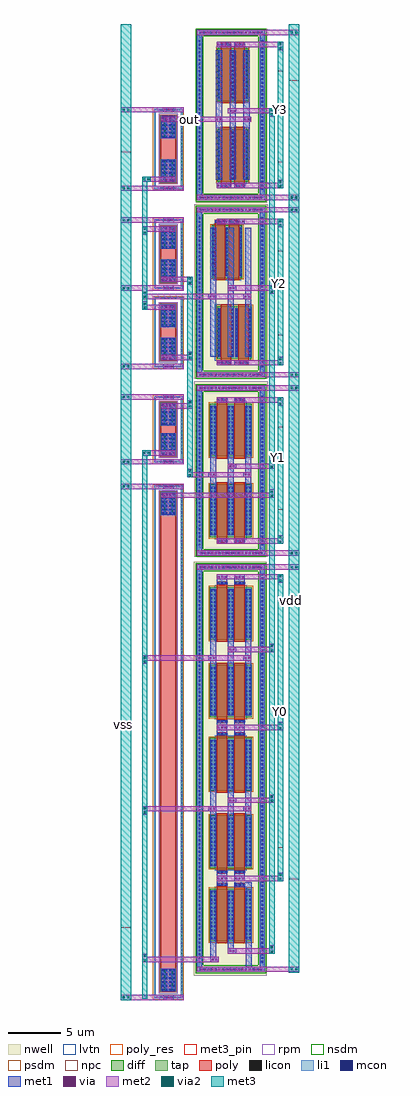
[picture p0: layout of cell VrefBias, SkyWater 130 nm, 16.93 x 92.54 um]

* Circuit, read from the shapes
.subckt VrefBias Y0 Y1 Y2 Y3 out vdd vss
XM1 n1 Y2 vss vdd sky130_fd_pr__pfet_01v8_lvt w=5 l=1
XM2 n1 Y0 n2 vdd sky130_fd_pr__pfet_01v8_lvt w=5 l=1 m=9
XM3 n1 Y1 n3 vdd sky130_fd_pr__pfet_01v8_lvt w=5 l=1 m=4
XM4 n1 Y2 n4 vdd sky130_fd_pr__pfet_01v8_lvt w=5 l=1
XM5 n1 Y3 out vdd sky130_fd_pr__pfet_01v8_lvt w=5 l=1 m=4
XM6 n5 Y2 n1 vdd sky130_fd_pr__pfet_01v8_lvt w=5 l=1
XM7 vdd vdd n1 vdd sky130_fd_pr__pfet_01v8_lvt w=5 l=1
XM8 vss Y2 n6 vdd sky130_fd_pr__pfet_01v8_lvt w=5 l=1
XR9 n1 n7 vss sky130_fd_pr__res_high_po w=1.41 l=43
XR10 n3 n2 vss sky130_fd_pr__res_high_po w=1.41 l=0.7
XR11 vss n3 vss sky130_fd_pr__res_high_po w=1.41 l=1 m=2
XR12 out vss vss sky130_fd_pr__res_high_po w=1.41 l=2
.ends

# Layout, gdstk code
from math import pi, radians
import gdstk
lib = gdstk.Library(unit=1e-6, precision=5e-09)
def R(c, l, rs):  # rectangles x0, y0, x1, y1
    for r in rs: c.add(gdstk.rectangle(r[:2], r[2:], *l))
def A(c, l, x, y, w, h, nx, ny, dx, dy):  # array of equal rectangles
    R(c, l, [(x+i*dx, y+j*dy, x+i*dx+w, y+j*dy+h) for i in range(nx) for j in range(ny)])
def P(c, l, *ps):  # polygons
    for p in ps: c.add(gdstk.Polygon(p, *l))
nwell = (64, 20)
diff = (65, 20)
tap = (65, 44)
poly_res = (66, 13)
poly = (66, 20)
licon = (66, 44)
li1 = (67, 20)
mcon = (67, 44)
met1 = (68, 20)
via = (68, 44)
met2 = (69, 20)
via2 = (69, 44)
met3_pin = (70, 16)
met3 = (70, 20)
rpm = (86, 20)
nsdm = (93, 44)
psdm = (94, 20)
npc = (95, 20)
lvtn = (125, 44)

res_poly_5 = lib.new_cell('res_poly$5')
R(res_poly_5, tap, [(-1.355,-24.31,1.355,-24.14), (-1.355,-24.14,-1.185,24.14), (1.185,-24.14,1.355,24.14), (-1.355,24.14,1.355,24.31)])
R(res_poly_5, poly_res, [(-0.705,-21.56,0.705,21.56)])
R(res_poly_5, poly, [(-0.705,-23.66,0.705,23.66)])
A(res_poly_5, licon, -0.765, -24.31, 0.17, 0.17, 5, 2, 0.34, 48.45)
A(res_poly_5, licon, -1.355, -23.545, 0.17, 0.17, 1, 139, 0, 0.34)
A(res_poly_5, licon, 1.185, -23.545, 0.17, 0.17, 1, 139, 0, 0.34)
R(res_poly_5, licon, [(-0.45,-23.58,-0.26,-21.58), (0.26,-23.58,0.45,-21.58), (-0.45,21.58,-0.26,23.58), (0.26,21.58,0.45,23.58)])
R(res_poly_5, li1, [(-1.355,-24.31,1.355,-24.14), (-1.355,-24.14,-1.185,24.14), (1.185,-24.14,1.355,24.14), (-0.705,-23.66,0.705,-21.5), (-0.705,21.5,0.705,23.66), (-1.355,24.14,1.355,24.31)])
A(res_poly_5, mcon, -0.625, -23.56, 0.17, 0.17, 4, 6, 0.36, 0.36)
A(res_poly_5, mcon, -0.625, 21.595, 0.17, 0.17, 4, 6, 0.36, 0.36)
R(res_poly_5, met1, [(-0.655,-23.63,0.655,-21.525), (-0.655,21.525,0.655,23.63)])
R(res_poly_5, rpm, [(-0.905,-23.86,0.905,23.86)])
R(res_poly_5, psdm, [(-1.48,-24.435,1.48,24.435)])
R(res_poly_5, npc, [(-0.8,-23.755,0.8,23.755)])

guard_ring_gen = lib.new_cell('guard_ring_gen')
P(guard_ring_gen, tap, [(-0.5,-0.5),(-0.5,15.145),(0,15.145),(0,0),(5.44,0),(5.44,15.145),(-0.5,15.145),(-0.5,15.645),(5.94,15.645),(5.94,-0.5)])
A(guard_ring_gen, licon, -0.245, -0.335, 0.17, 0.17, 17, 2, 0.36, 15.645)
A(guard_ring_gen, licon, -0.335, 0.47, 0.17, 0.17, 1, 40, 0, 0.36)
A(guard_ring_gen, licon, 5.605, 0.47, 0.17, 0.17, 1, 40, 0, 0.36)
P(guard_ring_gen, li1, [(-0.5,-0.5),(-0.5,15.145),(0,15.145),(0,0),(5.44,0),(5.44,15.145),(-0.5,15.145),(-0.5,15.645),(5.94,15.645),(5.94,-0.5)])
A(guard_ring_gen, mcon, -0.245, -0.335, 0.17, 0.17, 17, 2, 0.36, 15.645)
A(guard_ring_gen, mcon, -0.335, 0.47, 0.17, 0.17, 1, 40, 0, 0.36)
A(guard_ring_gen, mcon, 5.605, 0.47, 0.17, 0.17, 1, 40, 0, 0.36)
P(guard_ring_gen, met1, [(-0.5,-0.5),(-0.5,15.145),(0,15.145),(0,0),(5.44,0),(5.44,15.145),(-0.5,15.145),(-0.5,15.645),(5.94,15.645),(5.94,-0.5)])
P(guard_ring_gen, nsdm, [(-0.625,-0.625),(-0.625,15.02),(0.125,15.02),(0.125,0.125),(5.315,0.125),(5.315,15.02),(-0.625,15.02),(-0.625,15.77),(6.065,15.77),(6.065,-0.625)])

pfet = lib.new_cell('pfet')
R(pfet, nwell, [(-0.305,-0.38,2.625,5.72)])
R(pfet, diff, [(0,0,2.32,5)])
R(pfet, poly, [(0.66,-0.2,1.66,5.2), (0.66,5.2,1.66,5.53)])
A(pfet, licon, 0.065, 0.255, 0.17, 0.17, 1, 13, 0, 0.36)
A(pfet, licon, 0.425, 0.255, 0.17, 0.17, 1, 13, 0, 0.36)
A(pfet, licon, 1.725, 0.255, 0.17, 0.17, 1, 13, 0, 0.36)
A(pfet, licon, 2.085, 0.255, 0.17, 0.17, 1, 13, 0, 0.36)
A(pfet, licon, 0.715, 5.28, 0.17, 0.17, 3, 1, 0.36, 0)
R(pfet, li1, [(0.065,0.175,0.595,4.825), (1.725,0.175,2.255,4.825), (0.635,5.28,1.685,5.45)])
A(pfet, mcon, 0.065, 0.255, 0.17, 0.17, 1, 13, 0, 0.36)
A(pfet, mcon, 0.425, 0.255, 0.17, 0.17, 1, 13, 0, 0.36)
A(pfet, mcon, 1.725, 0.255, 0.17, 0.17, 1, 13, 0, 0.36)
A(pfet, mcon, 2.085, 0.255, 0.17, 0.17, 1, 13, 0, 0.36)
A(pfet, mcon, 0.715, 5.28, 0.17, 0.17, 3, 1, 0.36, 0)
R(pfet, met1, [(0.035,0.195,0.625,4.805), (1.695,0.195,2.285,4.805), (0.655,5.25,1.665,5.48)])
R(pfet, psdm, [(-0.125,-0.125,2.445,5.125)])
R(pfet, npc, [(0.65,5.19,1.67,5.54)])
R(pfet, lvtn, [(0.48,-0.18,1.84,5.18)])

vias_gen_3 = lib.new_cell('vias_gen$3')
R(vias_gen_3, met2, [(0,0,1,0.5)])
R(vias_gen_3, via2, [(0.2,0.15,0.4,0.35), (0.6,0.15,0.8,0.35)])
R(vias_gen_3, met3, [(0,0,1,0.5)])

vias_gen_2 = lib.new_cell('vias_gen$2')
R(vias_gen_2, met1, [(0,0,6,0.5)])
A(vias_gen_2, via, 0.205, 0.175, 0.15, 0.15, 18, 1, 0.32, 0)
R(vias_gen_2, met2, [(0,0,6,0.5)])

pfet_1 = lib.new_cell('pfet$1')
R(pfet_1, nwell, [(-0.305,-0.38,1.905,5.72)])
R(pfet_1, diff, [(0,0,1.6,5)])
R(pfet_1, poly, [(0.3,-0.2,1.3,5.2), (0.3,5.2,1.3,5.53)])
A(pfet_1, licon, 0.065, 0.255, 0.17, 0.17, 1, 13, 0, 0.36)
A(pfet_1, licon, 1.365, 0.255, 0.17, 0.17, 1, 13, 0, 0.36)
A(pfet_1, licon, 0.355, 5.28, 0.17, 0.17, 3, 1, 0.36, 0)
R(pfet_1, li1, [(0.065,0.175,0.235,4.825), (1.365,0.175,1.535,4.825), (0.275,5.28,1.325,5.45)])
A(pfet_1, mcon, 0.065, 0.255, 0.17, 0.17, 1, 13, 0, 0.36)
A(pfet_1, mcon, 1.365, 0.255, 0.17, 0.17, 1, 13, 0, 0.36)
A(pfet_1, mcon, 0.355, 5.28, 0.17, 0.17, 3, 1, 0.36, 0)
R(pfet_1, met1, [(0.035,0.195,0.265,4.805), (1.335,0.195,1.565,4.805), (0.295,5.25,1.305,5.48)])
R(pfet_1, psdm, [(-0.125,-0.125,1.725,5.125)])
R(pfet_1, npc, [(0.29,5.19,1.31,5.54)])
R(pfet_1, lvtn, [(0.12,-0.18,1.48,5.18)])

vias_gen_9 = lib.new_cell('vias_gen$9')
R(vias_gen_9, li1, [(0,0,1,0.5)])
R(vias_gen_9, mcon, [(0.235,0.165,0.405,0.335), (0.595,0.165,0.765,0.335)])
R(vias_gen_9, met1, [(0,0,1,0.5)])
A(vias_gen_9, via, 0.105, 0.175, 0.15, 0.15, 3, 1, 0.32, 0)
R(vias_gen_9, met2, [(0,0,1,0.5)])

res_poly_4 = lib.new_cell('res_poly$4')
R(res_poly_4, tap, [(-1.355,-3.16,1.355,-2.99), (-1.355,-2.99,-1.185,2.99), (1.185,-2.99,1.355,2.99), (-1.355,2.99,1.355,3.16)])
R(res_poly_4, poly_res, [(-0.705,-0.41,0.705,0.41)])
R(res_poly_4, poly, [(-0.705,-2.51,0.705,2.51)])
A(res_poly_4, licon, -0.765, -3.16, 0.17, 0.17, 5, 2, 0.34, 6.15)
A(res_poly_4, licon, -1.355, -2.295, 0.17, 0.17, 1, 14, 0, 0.34)
A(res_poly_4, licon, 1.185, -2.295, 0.17, 0.17, 1, 14, 0, 0.34)
R(res_poly_4, licon, [(-0.45,-2.43,-0.26,-0.43), (0.26,-2.43,0.45,-0.43), (-0.45,0.43,-0.26,2.43), (0.26,0.43,0.45,2.43)])
R(res_poly_4, li1, [(-1.355,-3.16,1.355,-2.99), (-1.355,-2.99,-1.185,2.99), (1.185,-2.99,1.355,2.99), (-0.705,-2.51,0.705,-0.35), (-0.705,0.35,0.705,2.51), (-1.355,2.99,1.355,3.16)])
A(res_poly_4, mcon, -0.625, -2.41, 0.17, 0.17, 4, 6, 0.36, 0.36)
A(res_poly_4, mcon, -0.625, 0.445, 0.17, 0.17, 4, 6, 0.36, 0.36)
R(res_poly_4, met1, [(-0.655,-2.48,0.655,-0.375), (-0.655,0.375,0.655,2.48)])
R(res_poly_4, rpm, [(-0.905,-2.71,0.905,2.71)])
R(res_poly_4, psdm, [(-1.48,-3.285,1.48,3.285)])
R(res_poly_4, npc, [(-0.8,-2.605,0.8,2.605)])

res_poly_3 = lib.new_cell('res_poly$3')
R(res_poly_3, tap, [(-1.355,-3.81,1.355,-3.64), (-1.355,-3.64,-1.185,3.64), (1.185,-3.64,1.355,3.64), (-1.355,3.64,1.355,3.81)])
R(res_poly_3, poly_res, [(-0.705,-1.06,0.705,1.06)])
R(res_poly_3, poly, [(-0.705,-3.16,0.705,3.16)])
A(res_poly_3, licon, -0.765, -3.81, 0.17, 0.17, 5, 2, 0.34, 7.45)
A(res_poly_3, licon, -1.355, -2.975, 0.17, 0.17, 1, 18, 0, 0.34)
A(res_poly_3, licon, 1.185, -2.975, 0.17, 0.17, 1, 18, 0, 0.34)
R(res_poly_3, licon, [(-0.45,-3.08,-0.26,-1.08), (0.26,-3.08,0.45,-1.08), (-0.45,1.08,-0.26,3.08), (0.26,1.08,0.45,3.08)])
R(res_poly_3, li1, [(-1.355,-3.81,1.355,-3.64), (-1.355,-3.64,-1.185,3.64), (1.185,-3.64,1.355,3.64), (-0.705,-3.16,0.705,-1), (-0.705,1,0.705,3.16), (-1.355,3.64,1.355,3.81)])
A(res_poly_3, mcon, -0.625, -3.06, 0.17, 0.17, 4, 6, 0.36, 0.36)
A(res_poly_3, mcon, -0.625, 1.095, 0.17, 0.17, 4, 6, 0.36, 0.36)
R(res_poly_3, met1, [(-0.655,-3.13,0.655,-1.025), (-0.655,1.025,0.655,3.13)])
R(res_poly_3, rpm, [(-0.905,-3.36,0.905,3.36)])
R(res_poly_3, psdm, [(-1.48,-3.935,1.48,3.935)])
R(res_poly_3, npc, [(-0.8,-3.255,0.8,3.255)])

res_poly = lib.new_cell('res_poly')
R(res_poly, tap, [(-1.355,-3.31,1.355,-3.14), (-1.355,-3.14,-1.185,3.14), (1.185,-3.14,1.355,3.14), (-1.355,3.14,1.355,3.31)])
R(res_poly, poly_res, [(-0.705,-0.56,0.705,0.56)])
R(res_poly, poly, [(-0.705,-2.66,0.705,2.66)])
A(res_poly, licon, -0.765, -3.31, 0.17, 0.17, 5, 2, 0.34, 6.45)
A(res_poly, licon, -1.355, -2.465, 0.17, 0.17, 1, 15, 0, 0.34)
A(res_poly, licon, 1.185, -2.465, 0.17, 0.17, 1, 15, 0, 0.34)
R(res_poly, licon, [(-0.45,-2.58,-0.26,-0.58), (0.26,-2.58,0.45,-0.58), (-0.45,0.58,-0.26,2.58), (0.26,0.58,0.45,2.58)])
R(res_poly, li1, [(-1.355,-3.31,1.355,-3.14), (-1.355,-3.14,-1.185,3.14), (1.185,-3.14,1.355,3.14), (-0.705,-2.66,0.705,-0.5), (-0.705,0.5,0.705,2.66), (-1.355,3.14,1.355,3.31)])
A(res_poly, mcon, -0.625, -2.56, 0.17, 0.17, 4, 6, 0.36, 0.36)
A(res_poly, mcon, -0.625, 0.595, 0.17, 0.17, 4, 6, 0.36, 0.36)
R(res_poly, met1, [(-0.655,-2.63,0.655,-0.525), (-0.655,0.525,0.655,2.63)])
R(res_poly, rpm, [(-0.905,-2.86,0.905,2.86)])
R(res_poly, psdm, [(-1.48,-3.435,1.48,3.435)])
R(res_poly, npc, [(-0.8,-2.755,0.8,2.755)])

vias_gen = lib.new_cell('vias_gen')
R(vias_gen, met1, [(0,0,0.64,0.5)])
R(vias_gen, via, [(0.085,0.175,0.235,0.325), (0.405,0.175,0.555,0.325)])
R(vias_gen, met2, [(0,0,0.64,0.5)])

vias_gen_1 = lib.new_cell('vias_gen$1')
R(vias_gen_1, met1, [(0,0,1,0.5)])
A(vias_gen_1, via, 0.105, 0.175, 0.15, 0.15, 3, 1, 0.32, 0)
R(vias_gen_1, met2, [(0,0,1,0.5)])

vias_gen_6 = lib.new_cell('vias_gen$6')
R(vias_gen_6, met2, [(0,0,0.8,0.5)])
R(vias_gen_6, via2, [(0.1,0.15,0.3,0.35), (0.5,0.15,0.7,0.35)])
R(vias_gen_6, met3, [(0,0,0.8,0.5)])

vias_gen_7 = lib.new_cell('vias_gen$7')
R(vias_gen_7, met1, [(0,0,0.8,0.5)])
R(vias_gen_7, via, [(0.165,0.175,0.315,0.325), (0.485,0.175,0.635,0.325)])
R(vias_gen_7, met2, [(0,0,0.8,0.5)])

guard_ring_gen_5 = lib.new_cell('guard_ring_gen$5')
P(guard_ring_gen_5, tap, [(-0.5,-0.5),(-0.5,37.635),(0,37.635),(0,0),(5.44,0),(5.44,37.635),(-0.5,37.635),(-0.5,38.135),(5.94,38.135),(5.94,-0.5)])
A(guard_ring_gen_5, licon, -0.245, -0.335, 0.17, 0.17, 17, 2, 0.36, 38.135)
A(guard_ring_gen_5, licon, -0.335, 0.375, 0.17, 0.17, 1, 103, 0, 0.36)
A(guard_ring_gen_5, licon, 5.605, 0.375, 0.17, 0.17, 1, 103, 0, 0.36)
P(guard_ring_gen_5, li1, [(-0.5,-0.5),(-0.5,37.635),(0,37.635),(0,0),(5.44,0),(5.44,37.635),(-0.5,37.635),(-0.5,38.135),(5.94,38.135),(5.94,-0.5)])
A(guard_ring_gen_5, mcon, -0.245, -0.335, 0.17, 0.17, 17, 2, 0.36, 38.135)
A(guard_ring_gen_5, mcon, -0.335, 0.375, 0.17, 0.17, 1, 103, 0, 0.36)
A(guard_ring_gen_5, mcon, 5.605, 0.375, 0.17, 0.17, 1, 103, 0, 0.36)
P(guard_ring_gen_5, met1, [(-0.5,-0.5),(-0.5,37.635),(0,37.635),(0,0),(5.44,0),(5.44,37.635),(-0.5,37.635),(-0.5,38.135),(5.94,38.135),(5.94,-0.5)])
P(guard_ring_gen_5, nsdm, [(-0.625,-0.625),(-0.625,37.51),(0.125,37.51),(0.125,0.125),(5.315,0.125),(5.315,37.51),(-0.625,37.51),(-0.625,38.26),(6.065,38.26),(6.065,-0.625)])

vrefbias = lib.new_cell('VrefBias')
R(vrefbias, nwell, [(182.41,119.55,189.325,158.795), (183.615,128.515,188.205,129.015), (183.615,142.81,188.205,143.31), (182.455,159.245,189.405,175.925), (182.435,176.12,189.41,192.685), (182.565,192.85,189.37,209.34)])
R(vrefbias, met3_pin, [(175.47,124.105,176.47,197.67), (191.395,128.7,192.395,204.43), (190.355,131.66,190.855,155.2), (190.355,163.735,190.855,171.59), (190.355,180.245,190.855,188.28), (190.355,196.645,190.855,205.365)])
R(vrefbias, lvtn, [(184.4,122.615,187.42,127.975), (184.4,129.555,187.42,134.915), (184.4,136.91,187.42,142.27), (184.4,143.85,187.42,149.21), (184.4,151.205,187.42,156.565), (184.4,160.935,187.42,166.295), (184.4,168.59,187.42,173.95), (184.4,177.84,187.42,183.2)])
vrefbias.add(gdstk.FlexPath([(186.235,128.17),(187.51,128.17),(187.9,128.17)], 0.5, ends="flush", simple_path=True, layer=68, datatype=20))  # met1
vrefbias.add(gdstk.FlexPath([(187.605,119.895),(187.605,128.27)], 0.59, ends="flush", simple_path=True, layer=68, datatype=20))  # met1
vrefbias.add(gdstk.FlexPath([(184.79,207.275),(184.79,195.01)], 0.59, ends="flush", simple_path=True, layer=68, datatype=20))  # met1
vrefbias.add(gdstk.FlexPath([(186.09,207.275),(186.09,195.01)], 0.59, ends="flush", simple_path=True, layer=68, datatype=20))  # met1
vrefbias.add(gdstk.FlexPath([(187.39,207.275),(187.39,195.01)], 0.59, ends="flush", simple_path=True, layer=68, datatype=20))  # met1
vrefbias.add(gdstk.FlexPath([(184.25,173.575),(184.25,161.31)], 0.59, ends="flush", simple_path=True, layer=68, datatype=20))  # met1
vrefbias.add(gdstk.FlexPath([(185.91,173.575),(185.91,161.31)], 0.59, ends="flush", simple_path=True, layer=68, datatype=20))  # met1
vrefbias.add(gdstk.FlexPath([(187.57,173.575),(187.57,161.31)], 0.59, ends="flush", simple_path=True, layer=68, datatype=20))  # met1
vrefbias.add(gdstk.FlexPath([(185.91,190.48),(185.91,178.215)], 0.59, ends="flush", simple_path=True, layer=68, datatype=20))  # met1
vrefbias.add(gdstk.FlexPath([(187.57,190.48),(187.57,178.215)], 0.59, ends="flush", simple_path=True, layer=68, datatype=20))  # met1
vrefbias.add(gdstk.FlexPath([(184.25,190.48),(184.25,178.215)], 0.59, ends="flush", simple_path=True, layer=68, datatype=20))  # met1
vrefbias.add(gdstk.FlexPath([(185.085,156.635),(185.085,157.605)], 1, ends="flush", simple_path=True, layer=68, datatype=20))  # met1
vrefbias.add(gdstk.FlexPath([(186.745,156.635),(186.745,157.605)], 1, ends="flush", simple_path=True, layer=68, datatype=20))  # met1
vrefbias.add(gdstk.FlexPath([(185.075,143.78),(185.075,142.34)], 1, ends="flush", simple_path=True, layer=68, datatype=20))  # met1
vrefbias.add(gdstk.FlexPath([(186.735,143.78),(186.735,142.34)], 1, ends="flush", simple_path=True, layer=68, datatype=20))  # met1
vrefbias.add(gdstk.FlexPath([(184.25,156.19),(184.25,144.225)], 0.59, ends="flush", simple_path=True, layer=68, datatype=20))  # met1
vrefbias.add(gdstk.FlexPath([(185.91,156.19),(185.91,144.225)], 0.59, ends="flush", simple_path=True, layer=68, datatype=20))  # met1
vrefbias.add(gdstk.FlexPath([(187.57,156.19),(187.57,144.225)], 0.59, ends="flush", simple_path=True, layer=68, datatype=20))  # met1
vrefbias.add(gdstk.FlexPath([(184.25,141.895),(184.25,129.93)], 0.59, ends="flush", simple_path=True, layer=68, datatype=20))  # met1
vrefbias.add(gdstk.FlexPath([(185.91,141.895),(185.91,129.93)], 0.59, ends="flush", simple_path=True, layer=68, datatype=20))  # met1
vrefbias.add(gdstk.FlexPath([(187.57,141.895),(187.57,129.93)], 0.59, ends="flush", simple_path=True, layer=68, datatype=20))  # met1
vrefbias.add(gdstk.FlexPath([(184.25,127.6),(184.25,120.82)], 0.59, ends="flush", simple_path=True, layer=68, datatype=20))  # met1
vrefbias.add(gdstk.FlexPath([(185.91,127.6),(185.91,121.62)], 0.59, ends="flush", simple_path=True, layer=68, datatype=20))  # met1
vrefbias.add(gdstk.FlexPath([(185.075,129.485),(185.075,128.045)], 1, ends="flush", simple_path=True, layer=68, datatype=20))  # met1
vrefbias.add(gdstk.FlexPath([(186.735,129.485),(186.735,128.515)], 1, ends="flush", simple_path=True, layer=68, datatype=20))  # met1
vrefbias.add(gdstk.FlexPath([(182.69,208.965),(192.395,208.965)], 0.5, ends="flush", simple_path=True, layer=69, datatype=20))  # met2
vrefbias.add(gdstk.FlexPath([(182.69,193.32),(192.395,193.32)], 0.5, ends="flush", simple_path=True, layer=69, datatype=20))  # met2
vrefbias.add(gdstk.FlexPath([(182.69,192.17),(192.395,192.17)], 0.5, ends="flush", simple_path=True, layer=69, datatype=20))  # met2
vrefbias.add(gdstk.FlexPath([(182.69,176.525),(192.395,176.525)], 0.5, ends="flush", simple_path=True, layer=69, datatype=20))  # met2
vrefbias.add(gdstk.FlexPath([(182.69,175.265),(192.395,175.265)], 0.5, ends="flush", simple_path=True, layer=69, datatype=20))  # met2
vrefbias.add(gdstk.FlexPath([(182.69,159.62),(192.395,159.62)], 0.5, ends="flush", simple_path=True, layer=69, datatype=20))  # met2
vrefbias.add(gdstk.FlexPath([(182.69,158.28),(192.395,158.28)], 0.5, ends="flush", simple_path=True, layer=69, datatype=20))  # met2
vrefbias.add(gdstk.FlexPath([(182.69,120.145),(192.395,120.145)], 0.5, ends="flush", simple_path=True, layer=69, datatype=20))  # met2
vrefbias.add(gdstk.FlexPath([(181.465,201.655),(175.47,201.655)], 0.5, ends="flush", simple_path=True, layer=69, datatype=20))  # met2
vrefbias.add(gdstk.FlexPath([(181.465,194.205),(175.47,194.205)], 0.5, ends="flush", simple_path=True, layer=69, datatype=20))  # met2
vrefbias.add(gdstk.FlexPath([(181.465,191.185),(175.47,191.185)], 0.5, ends="flush", simple_path=True, layer=69, datatype=20))  # met2
vrefbias.add(gdstk.FlexPath([(181.465,184.735),(175.47,184.735)], 0.5, ends="flush", simple_path=True, layer=69, datatype=20))  # met2
vrefbias.add(gdstk.FlexPath([(181.465,177.31),(175.47,177.31)], 0.5, ends="flush", simple_path=True, layer=69, datatype=20))  # met2
vrefbias.add(gdstk.FlexPath([(181.465,174.415),(175.47,174.415)], 0.5, ends="flush", simple_path=True, layer=69, datatype=20))  # met2
vrefbias.add(gdstk.FlexPath([(181.465,168.265),(175.47,168.265)], 0.5, ends="flush", simple_path=True, layer=69, datatype=20))  # met2
vrefbias.add(gdstk.FlexPath([(181.465,165.935),(175.47,165.935)], 0.5, ends="flush", simple_path=True, layer=69, datatype=20))  # met2
vrefbias.add(gdstk.FlexPath([(181.465,117.485),(175.47,117.485)], 0.5, ends="flush", simple_path=True, layer=69, datatype=20))  # met2
vrefbias.add(gdstk.FlexPath([(185.615,201.54),(190.055,201.54)], 0.5, ends="flush", simple_path=True, layer=69, datatype=20))  # met2
vrefbias.add(gdstk.FlexPath([(185.615,184.745),(190.055,184.745)], 0.5, ends="flush", simple_path=True, layer=69, datatype=20))  # met2
vrefbias.add(gdstk.FlexPath([(185.615,167.84),(190.055,167.84)], 0.5, ends="flush", simple_path=True, layer=69, datatype=20))  # met2
vrefbias.add(gdstk.FlexPath([(185.615,150.46),(190.055,150.46)], 0.5, ends="flush", simple_path=True, layer=69, datatype=20))  # met2
vrefbias.add(gdstk.FlexPath([(185.615,136.165),(190.055,136.165)], 0.5, ends="flush", simple_path=True, layer=69, datatype=20))  # met2
vrefbias.add(gdstk.FlexPath([(185.615,121.87),(190.055,121.87)], 0.5, ends="flush", simple_path=True, layer=69, datatype=20))  # met2
vrefbias.add(gdstk.FlexPath([(179.33,165.09),(190.055,165.09)], 0.5, ends="flush", simple_path=True, layer=69, datatype=20))  # met2
vrefbias.add(gdstk.FlexPath([(184.575,207.835),(190.855,207.835)], 0.5, ends="flush", simple_path=True, layer=69, datatype=20))  # met2
vrefbias.add(gdstk.FlexPath([(184.575,194.45),(190.855,194.45)], 0.5, ends="flush", simple_path=True, layer=69, datatype=20))  # met2
vrefbias.add(gdstk.FlexPath([(184.575,191.04),(190.855,191.04)], 0.5, ends="flush", simple_path=True, layer=69, datatype=20))  # met2
vrefbias.add(gdstk.FlexPath([(184.575,177.655),(190.855,177.655)], 0.5, ends="flush", simple_path=True, layer=69, datatype=20))  # met2
vrefbias.add(gdstk.FlexPath([(184.575,174.135),(190.855,174.135)], 0.5, ends="flush", simple_path=True, layer=69, datatype=20))  # met2
vrefbias.add(gdstk.FlexPath([(184.575,160.75),(190.855,160.75)], 0.5, ends="flush", simple_path=True, layer=69, datatype=20))  # met2
vrefbias.add(gdstk.FlexPath([(184.585,157.355),(190.855,157.355)], 0.5, ends="flush", simple_path=True, layer=69, datatype=20))  # met2
vrefbias.add(gdstk.FlexPath([(184.575,143.06),(190.855,143.06)], 0.5, ends="flush", simple_path=True, layer=69, datatype=20))  # met2
vrefbias.add(gdstk.FlexPath([(190.855,128.765),(184.575,128.765)], 0.5, ends="flush", simple_path=True, layer=69, datatype=20))  # met2
vrefbias.add(gdstk.FlexPath([(179.33,200.745),(187.865,200.745)], 0.5, ends="flush", simple_path=True, layer=69, datatype=20))  # met2
vrefbias.add(gdstk.FlexPath([(177.505,183.95),(187.865,183.95)], 0.5, ends="flush", simple_path=True, layer=69, datatype=20))  # met2
vrefbias.add(gdstk.FlexPath([(181.785,167.045),(187.865,167.045)], 0.5, ends="flush", simple_path=True, layer=69, datatype=20))  # met2
vrefbias.add(gdstk.FlexPath([(182.285,178.165),(179.36,178.165)], 0.5, ends="flush", simple_path=True, layer=69, datatype=20))  # met2
vrefbias.add(gdstk.FlexPath([(177.505,195.05),(180.64,195.05)], 0.5, ends="flush", simple_path=True, layer=69, datatype=20))  # met2
vrefbias.add(gdstk.FlexPath([(177.505,190.34),(180.64,190.34)], 0.5, ends="flush", simple_path=True, layer=69, datatype=20))  # met2
vrefbias.add(gdstk.FlexPath([(177.505,182.915),(180.64,182.915)], 0.5, ends="flush", simple_path=True, layer=69, datatype=20))  # met2
vrefbias.add(gdstk.FlexPath([(179.33,185.58),(182.285,185.58)], 0.5, ends="flush", simple_path=True, layer=69, datatype=20))  # met2
vrefbias.add(gdstk.FlexPath([(182.255,173.565),(179.33,173.565)], 0.5, ends="flush", simple_path=True, layer=69, datatype=20))  # met2
vrefbias.add(gdstk.FlexPath([(177.505,149.66),(187.865,149.66)], 0.5, ends="flush", simple_path=True, layer=69, datatype=20))  # met2
vrefbias.add(gdstk.FlexPath([(177.505,135.365),(187.865,135.365)], 0.5, ends="flush", simple_path=True, layer=69, datatype=20))  # met2
vrefbias.add(gdstk.FlexPath([(177.505,121.07),(184.755,121.07)], 0.5, ends="flush", simple_path=True, layer=69, datatype=20))  # met2
vrefbias.add(gdstk.FlexPath([(180.64,169.11),(177.505,169.11)], 0.5, ends="flush", simple_path=True, layer=69, datatype=20))  # met2
vrefbias.add(gdstk.FlexPath([(191.895,209.775),(191.895,119.8)], 1, ends="flush", simple_path=True, layer=70, datatype=20))  # met3
vrefbias.add(gdstk.FlexPath([(175.97,209.775),(175.97,117.235)], 1, ends="flush", simple_path=True, layer=70, datatype=20))  # met3
vrefbias.add(gdstk.FlexPath([(189.805,201.79),(189.805,121.62)], 0.5, ends="flush", simple_path=True, layer=70, datatype=20))  # met3
vrefbias.add(gdstk.FlexPath([(190.605,208.085),(190.605,194.2)], 0.5, ends="flush", simple_path=True, layer=70, datatype=20))  # met3
vrefbias.add(gdstk.FlexPath([(190.605,191.29),(190.605,177.405)], 0.5, ends="flush", simple_path=True, layer=70, datatype=20))  # met3
vrefbias.add(gdstk.FlexPath([(190.605,174.385),(190.605,160.5)], 0.5, ends="flush", simple_path=True, layer=70, datatype=20))  # met3
vrefbias.add(gdstk.FlexPath([(190.605,157.605),(190.605,128.515)], 0.5, ends="flush", simple_path=True, layer=70, datatype=20))  # met3
vrefbias.add(gdstk.FlexPath([(182.035,185.83),(182.035,166.795)], 0.5, ends="flush", simple_path=True, layer=70, datatype=20))  # met3
vrefbias.add(gdstk.FlexPath([(177.755,195.3),(177.755,182.665)], 0.5, ends="flush", simple_path=True, layer=70, datatype=20))  # met3
vrefbias.add(gdstk.FlexPath([(177.755,169.36),(177.755,117.365)], 0.5, ends="flush", simple_path=True, layer=70, datatype=20))  # met3
vrefbias.add(gdstk.Reference(res_poly_5, (179.985,141.71), x_reflection=True))
vrefbias.add(gdstk.Reference(guard_ring_gen, (183.19,159.87)))
vrefbias.add(gdstk.Reference(pfet, (187.9,166.115), rotation=pi))
vrefbias.add(gdstk.Reference(pfet, (186.24,166.115), rotation=pi))
vrefbias.add(gdstk.Reference(vias_gen_3, (191.395,193.07)))
vrefbias.add(gdstk.Reference(vias_gen_2, (182.91,191.92)))
vrefbias.add(gdstk.Reference(vias_gen_3, (191.395,191.92)))
vrefbias.add(gdstk.Reference(vias_gen_2, (182.91,176.275)))
vrefbias.add(gdstk.Reference(vias_gen_3, (191.395,176.275)))
vrefbias.add(gdstk.Reference(vias_gen_2, (182.91,208.715)))
vrefbias.add(gdstk.Reference(vias_gen_3, (191.395,208.715)))
vrefbias.add(gdstk.Reference(vias_gen_2, (182.91,175.015)))
vrefbias.add(gdstk.Reference(vias_gen_3, (191.395,175.015)))
vrefbias.add(gdstk.Reference(vias_gen_2, (182.91,193.07)))
vrefbias.add(gdstk.Reference(pfet_1, (187,185.675), rotation=pi, x_reflection=True))
vrefbias.add(gdstk.Reference(pfet_1, (186.24,183.02), rotation=pi))
vrefbias.add(gdstk.Reference(vias_gen_9, (179.485,201.405)))
vrefbias.add(gdstk.Reference(vias_gen_3, (176.47,201.905), rotation=pi))
vrefbias.add(gdstk.Reference(vias_gen_9, (179.485,193.955)))
vrefbias.add(gdstk.Reference(vias_gen_3, (176.47,194.455), rotation=pi))
vrefbias.add(gdstk.Reference(vias_gen_9, (179.485,190.935)))
vrefbias.add(gdstk.Reference(vias_gen_3, (176.47,191.435), rotation=pi))
vrefbias.add(gdstk.Reference(vias_gen_9, (179.485,184.485)))
vrefbias.add(gdstk.Reference(vias_gen_3, (176.47,184.985), rotation=pi))
vrefbias.add(gdstk.Reference(vias_gen_9, (179.485,177.06)))
vrefbias.add(gdstk.Reference(vias_gen_3, (176.47,177.56), rotation=pi))
vrefbias.add(gdstk.Reference(pfet, (187.9,168.77), rotation=pi, x_reflection=True))
vrefbias.add(gdstk.Reference(vias_gen_9, (179.485,174.165)))
vrefbias.add(gdstk.Reference(vias_gen_3, (176.47,174.665), rotation=pi))
vrefbias.add(gdstk.Reference(pfet_1, (187.9,183.02), rotation=pi))
vrefbias.add(gdstk.Reference(res_poly_4, (179.985,171.34)))
vrefbias.add(gdstk.Reference(vias_gen_9, (179.485,168.015)))
vrefbias.add(gdstk.Reference(vias_gen_3, (176.47,168.515), rotation=pi))
vrefbias.add(gdstk.Reference(vias_gen_9, (179.485,165.685)))
vrefbias.add(gdstk.Reference(vias_gen_3, (176.47,166.185), rotation=pi))
vrefbias.add(gdstk.Reference(res_poly_3, (179.985,197.93)))
vrefbias.add(gdstk.Reference(res_poly, (179.985,180.535)))
vrefbias.add(gdstk.Reference(res_poly, (179.985,187.96)))
vrefbias.add(gdstk.Reference(pfet_1, (187.54,199.815), rotation=pi))
vrefbias.add(gdstk.Reference(pfet_1, (186.24,202.47), rotation=pi, x_reflection=True))
vrefbias.add(gdstk.Reference(pfet_1, (187.54,202.47), rotation=pi, x_reflection=True))
vrefbias.add(gdstk.Reference(pfet_1, (186.24,199.815), rotation=pi))
vrefbias.add(gdstk.Reference(vias_gen, (185.085,200.995), rotation=pi))
vrefbias.add(gdstk.Reference(vias_gen, (187.735,200.995), rotation=pi))
vrefbias.add(gdstk.Reference(vias_gen, (186.435,201.79), rotation=pi))
vrefbias.add(gdstk.Reference(vias_gen_1, (180.33,200.995), rotation=pi))
vrefbias.add(gdstk.Reference(vias_gen_6, (181.785,185.83), rotation=3*pi/2))
vrefbias.add(gdstk.Reference(vias_gen_6, (181.785,178.715), rotation=3*pi/2))
vrefbias.add(gdstk.Reference(vias_gen_1, (180.64,190.59), rotation=pi))
vrefbias.add(gdstk.Reference(vias_gen_1, (180.33,178.415), rotation=pi))
vrefbias.add(gdstk.Reference(vias_gen_6, (178.305,195.3), rotation=pi))
vrefbias.add(gdstk.Reference(vias_gen_1, (180.64,195.3), rotation=pi))
vrefbias.add(gdstk.Reference(vias_gen_6, (177.505,190.59), rotation=3*pi/2))
vrefbias.add(gdstk.Reference(vias_gen_1, (180.64,183.165), rotation=pi))
vrefbias.add(gdstk.Reference(vias_gen_6, (177.505,183.465), rotation=3*pi/2))
vrefbias.add(gdstk.Reference(vias_gen_1, (180.33,185.83), rotation=pi))
vrefbias.add(gdstk.Reference(vias_gen_6, (181.785,174.115), rotation=3*pi/2))
vrefbias.add(gdstk.Reference(vias_gen_1, (180.33,173.815), rotation=pi))
vrefbias.add(gdstk.Reference(vias_gen_1, (185.575,208.085), rotation=pi))
vrefbias.add(gdstk.Reference(guard_ring_gen, (183.19,193.57)))
vrefbias.add(gdstk.Reference(vias_gen_1, (187.235,208.085), rotation=pi))
vrefbias.add(gdstk.Reference(vias_gen_1, (185.575,194.7), rotation=pi))
vrefbias.add(gdstk.Reference(vias_gen_1, (187.235,194.7), rotation=pi))
vrefbias.add(gdstk.Reference(vias_gen_1, (185.575,191.29), rotation=pi))
vrefbias.add(gdstk.Reference(vias_gen_7, (186.415,184.995), rotation=pi))
vrefbias.add(gdstk.Reference(vias_gen_1, (187.235,191.29), rotation=pi))
vrefbias.add(gdstk.Reference(vias_gen_7, (184.545,184.2), rotation=pi))
vrefbias.add(gdstk.Reference(vias_gen_7, (187.865,184.2), rotation=pi))
vrefbias.add(gdstk.Reference(vias_gen_1, (185.58,177.905), rotation=pi))
vrefbias.add(gdstk.Reference(vias_gen_1, (187.24,177.905), rotation=pi))
vrefbias.add(gdstk.Reference(vias_gen_1, (185.575,174.385), rotation=pi))
vrefbias.add(gdstk.Reference(vias_gen_1, (187.24,174.385), rotation=pi))
vrefbias.add(gdstk.Reference(vias_gen_7, (186.415,168.09), rotation=pi))
vrefbias.add(gdstk.Reference(vias_gen_7, (184.545,167.295), rotation=pi))
vrefbias.add(gdstk.Reference(vias_gen_7, (187.865,167.295), rotation=pi))
vrefbias.add(gdstk.Reference(vias_gen_6, (177.505,184.5), rotation=3*pi/2))
vrefbias.add(gdstk.Reference(vias_gen_6, (181.785,167.595), rotation=3*pi/2))
vrefbias.add(gdstk.Reference(vias_gen_1, (180.64,169.36), rotation=pi))
vrefbias.add(gdstk.Reference(vias_gen_6, (178.305,169.36), rotation=pi))
vrefbias.add(gdstk.Reference(vias_gen_6, (190.055,200.99), rotation=pi/2))
vrefbias.add(gdstk.Reference(vias_gen_1, (180.33,165.34), rotation=pi))
vrefbias.add(gdstk.Reference(vias_gen_6, (190.055,184.195), rotation=pi/2))
vrefbias.add(gdstk.Reference(vias_gen_6, (190.055,167.59), rotation=pi/2))
vrefbias.add(gdstk.Reference(vias_gen_6, (190.055,164.84), rotation=pi/2))
vrefbias.add(gdstk.Reference(vias_gen_6, (190.855,207.285), rotation=pi/2))
vrefbias.add(gdstk.Reference(vias_gen_6, (190.855,194.2), rotation=pi/2))
vrefbias.add(gdstk.Reference(vias_gen_6, (190.855,190.49), rotation=pi/2))
vrefbias.add(gdstk.Reference(vias_gen_6, (190.855,177.405), rotation=pi/2))
vrefbias.add(gdstk.Reference(vias_gen_6, (190.855,173.585), rotation=pi/2))
vrefbias.add(gdstk.Reference(pfet_1, (185.7,185.675), rotation=pi, x_reflection=True))
vrefbias.add(gdstk.Reference(guard_ring_gen, (183.19,176.775)))
vrefbias.add(gdstk.Reference(pfet, (186.24,168.77), rotation=pi, x_reflection=True))
vrefbias.add(gdstk.Reference(vias_gen_2, (182.91,158.03)))
vrefbias.add(gdstk.Reference(vias_gen_3, (191.395,158.03)))
vrefbias.add(gdstk.Reference(vias_gen_2, (182.91,119.895)))
vrefbias.add(gdstk.Reference(vias_gen_3, (191.395,119.895)))
vrefbias.add(gdstk.Reference(vias_gen_3, (191.395,159.37)))
vrefbias.add(gdstk.Reference(vias_gen_9, (179.485,117.235)))
vrefbias.add(gdstk.Reference(vias_gen_3, (176.47,117.735), rotation=pi))
vrefbias.add(gdstk.Reference(vias_gen_2, (182.91,159.37)))
vrefbias.add(gdstk.Reference(vias_gen_1, (187.245,157.605), rotation=pi))
vrefbias.add(gdstk.Reference(vias_gen_1, (185.575,143.31), rotation=pi))
vrefbias.add(gdstk.Reference(vias_gen_1, (187.235,143.31), rotation=pi))
vrefbias.add(gdstk.Reference(vias_gen_1, (187.235,129.015), rotation=pi))
vrefbias.add(gdstk.Reference(vias_gen_1, (185.575,129.015), rotation=pi))
vrefbias.add(gdstk.Reference(vias_gen_7, (186.415,150.71), rotation=pi))
vrefbias.add(gdstk.Reference(vias_gen_7, (184.545,149.91), rotation=pi))
vrefbias.add(gdstk.Reference(vias_gen_7, (187.865,149.91), rotation=pi))
vrefbias.add(gdstk.Reference(vias_gen_7, (186.415,136.415), rotation=pi))
vrefbias.add(gdstk.Reference(vias_gen_7, (184.545,135.615), rotation=pi))
vrefbias.add(gdstk.Reference(vias_gen_7, (187.865,135.615), rotation=pi))
vrefbias.add(gdstk.Reference(vias_gen_7, (186.415,122.12), rotation=pi))
vrefbias.add(gdstk.Reference(vias_gen_7, (184.755,121.32), rotation=pi))
vrefbias.add(gdstk.Reference(pfet, (187.9,134.735), rotation=pi))
vrefbias.add(gdstk.Reference(vias_gen_6, (177.505,149.11), rotation=pi/2, x_reflection=True))
vrefbias.add(gdstk.Reference(vias_gen_6, (177.505,134.815), rotation=pi/2, x_reflection=True))
vrefbias.add(gdstk.Reference(vias_gen_6, (177.505,120.82), rotation=pi/2, x_reflection=True))
vrefbias.add(gdstk.Reference(pfet, (187.9,149.03), rotation=pi))
vrefbias.add(gdstk.Reference(pfet, (186.24,149.03), rotation=pi))
vrefbias.add(gdstk.Reference(vias_gen_1, (185.575,161), rotation=pi))
vrefbias.add(gdstk.Reference(vias_gen_6, (190.055,150.21), rotation=pi/2))
vrefbias.add(gdstk.Reference(vias_gen_6, (190.055,135.915), rotation=pi/2))
vrefbias.add(gdstk.Reference(vias_gen_6, (190.055,121.62), rotation=pi/2))
vrefbias.add(gdstk.Reference(pfet, (185.58,122.795)))
vrefbias.add(gdstk.Reference(pfet, (186.24,151.385), rotation=pi, x_reflection=True))
vrefbias.add(gdstk.Reference(pfet, (183.92,122.795)))
vrefbias.add(gdstk.Reference(pfet, (186.24,134.735), rotation=pi))
vrefbias.add(gdstk.Reference(vias_gen_6, (190.855,160.5), rotation=pi/2))
vrefbias.add(gdstk.Reference(vias_gen_6, (190.855,156.805), rotation=pi/2))
vrefbias.add(gdstk.Reference(vias_gen_6, (190.855,142.81), rotation=pi/2))
vrefbias.add(gdstk.Reference(vias_gen_6, (190.855,128.515), rotation=pi/2))
vrefbias.add(gdstk.Reference(pfet, (187.9,151.385), rotation=pi, x_reflection=True))
vrefbias.add(gdstk.Reference(vias_gen_1, (187.235,161), rotation=pi))
vrefbias.add(gdstk.Reference(pfet, (187.9,137.09), rotation=pi, x_reflection=True))
vrefbias.add(gdstk.Reference(pfet, (186.24,137.09), rotation=pi, x_reflection=True))
vrefbias.add(gdstk.Reference(guard_ring_gen_5, (183.19,120.395)))
vrefbias.add(gdstk.Reference(vias_gen_1, (185.585,157.605), rotation=pi))
vrefbias.add(gdstk.Label('Y3', (190.605,201.63), layer=70, texttype=16))
vrefbias.add(gdstk.Label('Y2', (190.48,185.13), layer=70, texttype=16))
vrefbias.add(gdstk.Label('Y1', (190.47,168.655), layer=70, texttype=16))
vrefbias.add(gdstk.Label('Y0', (190.66,144.63), layer=70, texttype=16))
vrefbias.add(gdstk.Label('vdd', (191.685,155.15), layer=70, texttype=16))
vrefbias.add(gdstk.Label('vss', (175.74,143.315), layer=70, texttype=16))
vrefbias.add(gdstk.Label('out', (181.98,200.71), layer=69, texttype=16))

lib.write_gds('VrefBias.gds')
